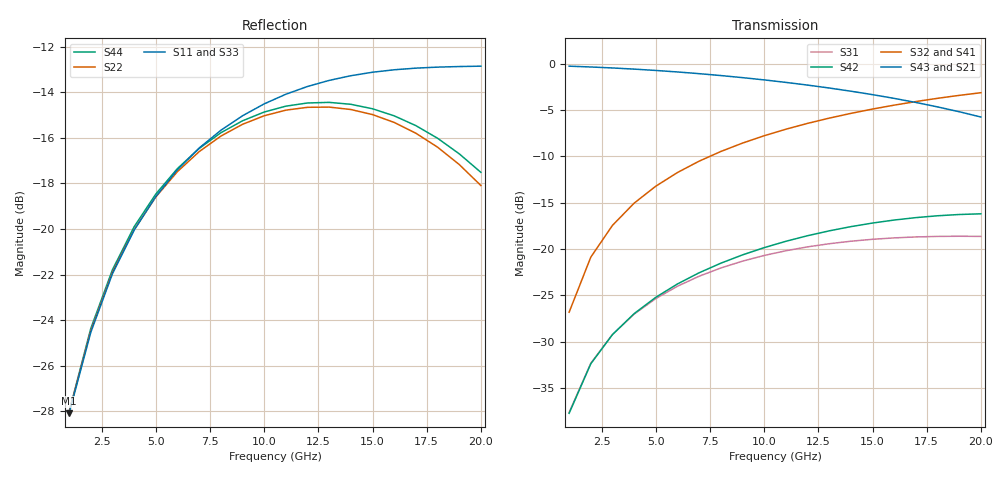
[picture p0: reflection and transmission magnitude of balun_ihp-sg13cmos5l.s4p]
#  GHZ S DB R 50
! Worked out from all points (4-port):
!   20 points, 1 GHz to 20 GHz, reference 50 ohm
!   strongest paths, dB at 1 GHz, 6 GHz, 11 GHz, 16 GHz, 20 GHz:
!     S43: -0.3, -0.9, -2.0, -3.8, -5.8
!     S21: -0.3, -0.9, -2.0, -3.7, -5.7
!     S32: -26.8, -11.7, -7.1, -4.5, -3.1
!     S41: -26.8, -11.8, -7.1, -4.5, -3.2
!     S42: -37.7, -23.8, -19.2, -16.9, -16.2
!     S31: -37.6, -24.0, -20.2, -18.8, -18.6
!   lowest |S11| = -28.1 dB at 1 GHz (marker M1), VSWR 1.08, Z = 53.2 + j2.57 ohm
!   |S11| at or under -10 dB: start of sweep to end of sweep
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1  -28.08 37.7  -0.29 -4.1  -37.61 -104.3  -26.83 84.9
   -0.29 -4.1  -28.03 36.7  -26.81 84.9  -37.71 -107.3
   -37.61 -104.3  -26.81 84.9  -28.09 39.0  -0.28 -4.1
   -26.83 84.9  -37.71 -107.3  -0.28 -4.1  -28.01 38.2
2  -24.53 49.1  -0.38 -7.9  -32.31 -110.7  -20.90 80.8
   -0.38 -7.9  -24.46 46.6  -20.87 80.9  -32.37 -116.7
   -32.31 -110.7  -20.87 80.9  -24.47 49.8  -0.37 -7.9
   -20.90 80.8  -32.37 -116.7  -0.37 -7.9  -24.36 47.5
3  -21.96 52.1  -0.49 -11.6  -29.21 -116.4  -17.47 76.8
   -0.49 -11.6  -21.90 48.0  -17.45 76.8  -29.22 -125.5
   -29.21 -116.4  -17.45 76.8  -21.89 52.4  -0.48 -11.5
   -17.47 76.8  -29.22 -125.5  -0.48 -11.5  -21.78 48.7
6  -17.40 48.7  -0.92 -22.1  -24.01 -133.8  -11.77 65.2
   -0.92 -22.1  -17.48 40.0  -11.75 65.4  -23.76 -151.6
   -24.01 -133.8  -11.75 65.4  -17.33 48.8  -0.91 -21.9
   -11.77 65.2  -23.76 -151.6  -0.91 -21.9  -17.34 40.6
9  -15.03 41.3  -1.52 -32.1  -21.30 -151.3  -8.60 54.3
   -1.52 -32.1  -15.41 27.6  -8.58 54.5  -20.63 -177.4
   -21.30 -151.3  -8.58 54.5  -14.94 41.3  -1.52 -31.9
   -8.60 54.3  -20.63 -177.4  -1.52 -31.9  -15.25 28.3
13  -13.48 31.5  -2.64 -45.1  -19.42 -173.2  -5.91 40.3
    -2.64 -45.1  -14.65 10.2  -5.88 40.6  -18.04 149.6
    -19.42 -173.2  -5.88 40.6  -13.36 31.4  -2.64 -44.9
    -5.91 40.3  -18.04 149.6  -2.64 -44.9  -14.44 11.4
20  -12.86 21.2  -5.74 -67.1  -18.63 154.9  -3.17 16.4
    -5.74 -67.1  -18.09 -11.6  -3.14 16.9  -16.20 96.6
    -18.63 154.9  -3.14 16.9  -12.66 20.4  -5.76 -66.8
    -3.17 16.4  -16.20 96.6  -5.76 -66.8  -17.51 -8.7
